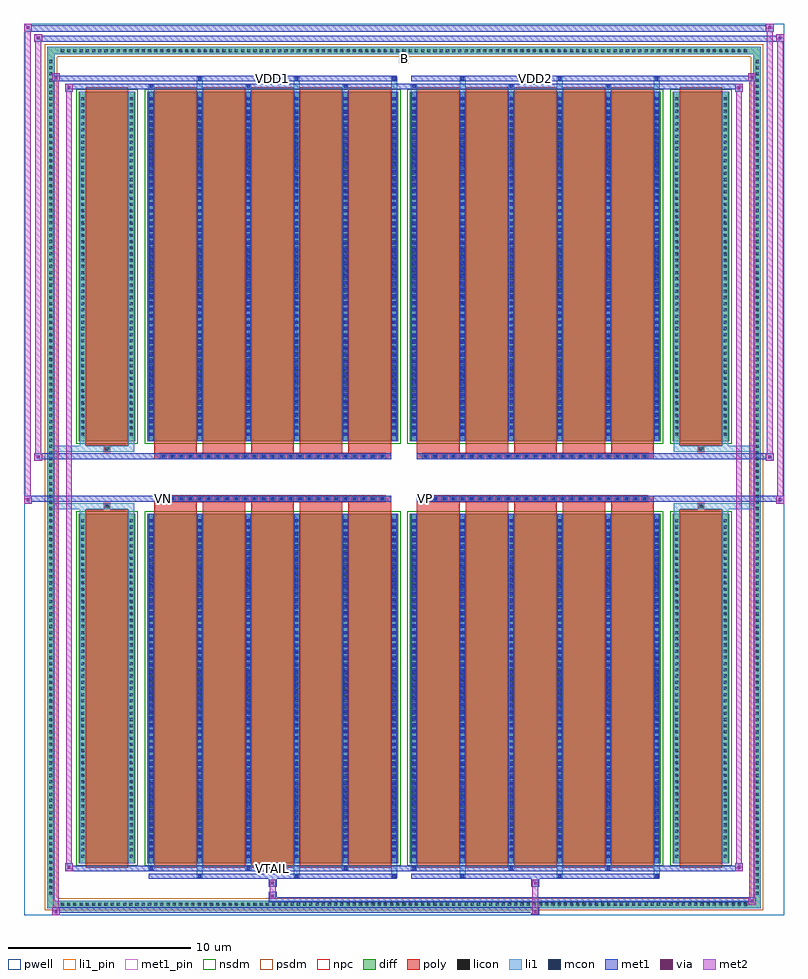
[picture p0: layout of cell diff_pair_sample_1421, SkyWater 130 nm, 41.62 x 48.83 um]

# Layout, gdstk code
import gdstk
lib = gdstk.Library(unit=1e-6, precision=5e-09)
def R(c, l, rs):  # rectangles x0, y0, x1, y1
    for r in rs: c.add(gdstk.rectangle(r[:2], r[2:], *l))
def A(c, l, x, y, w, h, nx, ny, dx, dy):  # array of equal rectangles
    R(c, l, [(x+i*dx, y+j*dy, x+i*dx+w, y+j*dy+h) for i in range(nx) for j in range(ny)])
def P(c, l, *ps):  # polygons
    for p in ps: c.add(gdstk.Polygon(p, *l))
pwell = (64, 44)
diff = (65, 20)
poly = (66, 20)
licon = (66, 44)
li1_pin = (67, 16)
li1 = (67, 20)
mcon = (67, 44)
met1_pin = (68, 16)
met1 = (68, 20)
via = (68, 44)
met2 = (69, 20)
nsdm = (93, 44)
psdm = (94, 20)
npc = (95, 20)

diff_pair_sample_1421 = lib.new_cell('diff_pair_sample_1421')
R(diff_pair_sample_1421, pwell, [(-20.81,-23.98,20.81,24.85), (-18.13,-22.17,-0.01,-0.805), (0.01,-22.17,18.13,-0.805), (-18.13,0.805,-0.01,22.17), (0.01,0.805,18.13,22.17)])
A(diff_pair_sample_1421, diff, -18.905, -23.58, 0.41, 0.41, 111, 2, 0.34, 46.75)
A(diff_pair_sample_1421, diff, -19.54, -22.985, 0.41, 0.41, 1, 135, 0, 0.34)
A(diff_pair_sample_1421, diff, 19.13, -22.985, 0.41, 0.41, 1, 135, 0, 0.34)
R(diff_pair_sample_1421, diff, [(-18.905,-23.58,18.905,-23.17), (-19.54,-22.985,-19.13,22.985), (19.13,-22.985,19.54,22.985), (-17.82,-21.125,-14.71,-1.985), (-14.07,-21.125,-0.32,-1.985), (0.32,-21.125,14.07,-1.985), (14.71,-21.125,17.82,-1.985), (-17.82,1.985,-14.71,21.125), (-14.07,1.985,-0.32,21.125), (0.32,1.985,14.07,21.125), (14.71,1.985,17.82,21.125), (-18.905,23.17,18.905,23.58)])
P(diff_pair_sample_1421, diff, [(19.54,23.58),(-19.54,23.58),(-19.54,-23.17),(-19.13,-23.17),(-19.13,23.17),(19.13,23.17),(19.13,-23.17),(-19.13,-23.17),(-19.54,-23.17),(-19.54,-23.58),(19.54,-23.58)])
A(diff_pair_sample_1421, poly, -13.68, -21.375, 2.33, 19.64, 5, 2, 2.66, 23.11)
A(diff_pair_sample_1421, poly, 0.71, -21.375, 2.33, 19.64, 5, 2, 2.66, 23.11)
A(diff_pair_sample_1421, poly, -13.68, -1.735, 2.33, 0.4, 5, 2, 2.66, 3.07)
A(diff_pair_sample_1421, poly, 0.71, -1.735, 2.33, 0.4, 5, 2, 2.66, 3.07)
A(diff_pair_sample_1421, poly, -13.36, -1.335, 0.33, 0.33, 25, 2, 0.5, 2.34)
A(diff_pair_sample_1421, poly, 1.03, -1.335, 0.33, 0.33, 25, 2, 0.5, 2.34)
R(diff_pair_sample_1421, poly, [(-17.43,-21.375,-15.1,-1.735), (15.1,-21.375,17.43,-1.735), (-16.43,-1.735,-16.1,-1.405), (-16.43,-1.735,-16.1,-1.405), (16.1,-1.735,16.43,-1.405), (16.1,-1.735,16.43,-1.405), (-13.68,-1.335,-0.71,-1.005), (0.71,-1.335,13.68,-1.005), (-13.68,1.005,-0.71,1.335), (0.71,1.005,13.68,1.335), (-16.43,1.405,-16.1,1.735), (-16.43,1.405,-16.1,1.735), (16.1,1.405,16.43,1.735), (16.1,1.405,16.43,1.735), (-17.43,1.735,-15.1,21.375), (15.1,1.735,17.43,21.375)])
A(diff_pair_sample_1421, licon, -18.785, -23.46, 0.17, 0.17, 111, 2, 0.34, 46.75)
A(diff_pair_sample_1421, licon, -19.42, -22.865, 0.17, 0.17, 1, 135, 0, 0.34)
A(diff_pair_sample_1421, licon, 19.25, -22.865, 0.17, 0.17, 1, 135, 0, 0.34)
A(diff_pair_sample_1421, licon, -17.68, -20.82, 0.17, 0.17, 1, 55, 0, 0.34)
A(diff_pair_sample_1421, licon, -15.02, -20.82, 0.17, 0.17, 1, 55, 0, 0.34)
A(diff_pair_sample_1421, licon, -13.93, -20.82, 0.17, 0.17, 6, 55, 2.66, 0.34)
A(diff_pair_sample_1421, licon, 0.46, -20.82, 0.17, 0.17, 6, 55, 2.66, 0.34)
A(diff_pair_sample_1421, licon, 14.85, -20.82, 0.17, 0.17, 1, 55, 0, 0.34)
A(diff_pair_sample_1421, licon, 17.51, -20.82, 0.17, 0.17, 1, 55, 0, 0.34)
A(diff_pair_sample_1421, licon, -13.28, -1.255, 0.17, 0.17, 25, 2, 0.5, 2.34)
A(diff_pair_sample_1421, licon, 1.11, -1.255, 0.17, 0.17, 25, 2, 0.5, 2.34)
A(diff_pair_sample_1421, licon, -17.68, 2.29, 0.17, 0.17, 1, 55, 0, 0.34)
A(diff_pair_sample_1421, licon, -15.02, 2.29, 0.17, 0.17, 1, 55, 0, 0.34)
A(diff_pair_sample_1421, licon, -13.93, 2.29, 0.17, 0.17, 6, 55, 2.66, 0.34)
A(diff_pair_sample_1421, licon, 0.46, 2.29, 0.17, 0.17, 6, 55, 2.66, 0.34)
A(diff_pair_sample_1421, licon, 14.85, 2.29, 0.17, 0.17, 1, 55, 0, 0.34)
A(diff_pair_sample_1421, licon, 17.51, 2.29, 0.17, 0.17, 1, 55, 0, 0.34)
R(diff_pair_sample_1421, licon, [(-16.35,-1.655,-16.18,-1.485), (16.18,-1.655,16.35,-1.485), (-16.35,1.485,-16.18,1.655), (16.18,1.485,16.35,1.655)])
R(diff_pair_sample_1421, li1_pin, [(-0.25,22.67,0.25,23.17)])
A(diff_pair_sample_1421, li1, -18.865, -23.54, 0.33, 0.33, 111, 2, 0.34, 46.75)
A(diff_pair_sample_1421, li1, -19.5, -22.945, 0.33, 0.33, 1, 135, 0, 0.34)
A(diff_pair_sample_1421, li1, 19.17, -22.945, 0.33, 0.33, 1, 135, 0, 0.34)
A(diff_pair_sample_1421, li1, -11.35, -21.93, 0.33, 0.805, 3, 2, 5.32, 43.055)
A(diff_pair_sample_1421, li1, -11.27, -21.93, 0.17, 0.17, 3, 2, 5.32, 43.69)
A(diff_pair_sample_1421, li1, 3.04, -21.93, 0.33, 0.805, 3, 2, 5.32, 43.055)
A(diff_pair_sample_1421, li1, 3.12, -21.93, 0.17, 0.17, 3, 2, 5.32, 43.69)
A(diff_pair_sample_1421, li1, -14.01, -21.5, 0.33, 0.375, 3, 2, 5.32, 42.625)
A(diff_pair_sample_1421, li1, -13.93, -21.5, 0.17, 0.17, 3, 2, 5.32, 42.83)
A(diff_pair_sample_1421, li1, 0.38, -21.5, 0.33, 0.375, 3, 2, 5.32, 42.625)
A(diff_pair_sample_1421, li1, 0.46, -21.5, 0.17, 0.17, 3, 2, 5.32, 42.83)
A(diff_pair_sample_1421, li1, -14.01, -21.125, 0.33, 19.14, 6, 2, 2.66, 23.11)
A(diff_pair_sample_1421, li1, 0.38, -21.125, 0.33, 19.14, 6, 2, 2.66, 23.11)
A(diff_pair_sample_1421, li1, -17.76, -20.9, 0.33, 0.33, 1, 55, 0, 0.34)
A(diff_pair_sample_1421, li1, -15.1, -20.9, 0.33, 0.33, 1, 55, 0, 0.34)
A(diff_pair_sample_1421, li1, -14.01, -20.9, 0.33, 0.33, 6, 55, 2.66, 0.34)
A(diff_pair_sample_1421, li1, 0.38, -20.9, 0.33, 0.33, 6, 55, 2.66, 0.34)
A(diff_pair_sample_1421, li1, 14.77, -20.9, 0.33, 0.33, 1, 55, 0, 0.34)
A(diff_pair_sample_1421, li1, 17.43, -20.9, 0.33, 0.33, 1, 55, 0, 0.34)
A(diff_pair_sample_1421, li1, -13.93, -20.82, 0.17, 0.17, 6, 52, 2.66, 0.36)
A(diff_pair_sample_1421, li1, -13.93, -20.82, 0.17, 18.53, 6, 2, 2.66, 23.11)
A(diff_pair_sample_1421, li1, 0.46, -20.82, 0.17, 0.17, 6, 52, 2.66, 0.36)
A(diff_pair_sample_1421, li1, 0.46, -20.82, 0.17, 18.53, 6, 2, 2.66, 23.11)
A(diff_pair_sample_1421, li1, -13.36, -1.335, 0.33, 0.33, 25, 2, 0.5, 2.34)
A(diff_pair_sample_1421, li1, 1.03, -1.335, 0.33, 0.33, 25, 2, 0.5, 2.34)
A(diff_pair_sample_1421, li1, -17.76, 2.21, 0.33, 0.33, 1, 55, 0, 0.34)
A(diff_pair_sample_1421, li1, -15.1, 2.21, 0.33, 0.33, 1, 55, 0, 0.34)
A(diff_pair_sample_1421, li1, -14.01, 2.21, 0.33, 0.33, 6, 55, 2.66, 0.34)
A(diff_pair_sample_1421, li1, 0.38, 2.21, 0.33, 0.33, 6, 55, 2.66, 0.34)
A(diff_pair_sample_1421, li1, 14.77, 2.21, 0.33, 0.33, 1, 55, 0, 0.34)
A(diff_pair_sample_1421, li1, 17.43, 2.21, 0.33, 0.33, 1, 55, 0, 0.34)
A(diff_pair_sample_1421, li1, -13.93, 2.29, 0.17, 0.17, 6, 52, 2.66, 0.36)
A(diff_pair_sample_1421, li1, 0.46, 2.29, 0.17, 0.17, 6, 52, 2.66, 0.36)
R(diff_pair_sample_1421, li1, [(-19.54,-23.58,-19.13,-23.17), (-19.54,-23.58,-19.13,-23.17), (-19.13,-23.58,19.13,-23.17), (19.13,-23.58,19.54,-23.17), (19.13,-23.58,19.54,-23.17), (-19.54,-23.17,-19.13,23.17), (19.13,-23.17,19.54,23.17), (-17.76,-21.125,-17.43,-1.985), (-15.1,-21.125,-14.77,-1.985), (14.77,-21.125,15.1,-1.985), (17.43,-21.125,17.76,-1.985), (-17.76,-1.985,-17.43,-1.405), (-15.1,-1.985,-14.77,-1.405), (14.77,-1.985,15.1,-1.405), (17.43,-1.985,17.76,-1.405), (-19.54,-1.735,-16.43,-1.405), (-17.76,-1.735,-16.43,-1.405), (-16.43,-1.735,-16.1,-1.405), (-16.1,-1.735,-14.77,-1.405), (14.77,-1.735,16.1,-1.405), (16.1,-1.735,16.43,-1.405), (16.1,-1.735,19.54,-1.405), (16.43,-1.735,17.76,-1.405), (-19.54,1.405,-16.43,1.735), (-17.76,1.405,-16.43,1.735), (-17.76,1.405,-17.43,1.985), (-16.43,1.405,-16.1,1.735), (-16.1,1.405,-14.77,1.735), (-15.1,1.405,-14.77,1.985), (14.77,1.405,16.1,1.735), (14.77,1.405,15.1,1.985), (16.1,1.405,16.43,1.735), (16.1,1.405,19.54,1.735), (16.43,1.405,17.76,1.735), (17.43,1.405,17.76,1.985), (-17.76,1.985,-17.43,21.125), (-15.1,1.985,-14.77,21.125), (14.77,1.985,15.1,21.125), (17.43,1.985,17.76,21.125), (-19.54,23.17,-19.13,23.58), (-19.54,23.17,-19.13,23.58), (-19.13,23.17,19.13,23.58), (19.13,23.17,19.54,23.58), (19.13,23.17,19.54,23.58)])
A(diff_pair_sample_1421, mcon, -11.27, -21.93, 0.17, 0.17, 3, 2, 5.32, 43.69)
A(diff_pair_sample_1421, mcon, 3.12, -21.93, 0.17, 0.17, 3, 2, 5.32, 43.69)
A(diff_pair_sample_1421, mcon, -13.93, -21.5, 0.17, 0.17, 3, 2, 5.32, 42.83)
A(diff_pair_sample_1421, mcon, 0.46, -21.5, 0.17, 0.17, 3, 2, 5.32, 42.83)
A(diff_pair_sample_1421, mcon, -13.93, -20.82, 0.17, 0.17, 6, 52, 2.66, 0.36)
A(diff_pair_sample_1421, mcon, 0.46, -20.82, 0.17, 0.17, 6, 52, 2.66, 0.36)
A(diff_pair_sample_1421, mcon, -13.28, -1.255, 0.17, 0.17, 25, 2, 0.5, 2.34)
A(diff_pair_sample_1421, mcon, 1.11, -1.255, 0.17, 0.17, 25, 2, 0.5, 2.34)
A(diff_pair_sample_1421, mcon, -13.93, 2.29, 0.17, 0.17, 6, 52, 2.66, 0.36)
A(diff_pair_sample_1421, mcon, 0.46, 2.29, 0.17, 0.17, 6, 52, 2.66, 0.36)
R(diff_pair_sample_1421, met1_pin, [(-7.33,-21.54,-7.06,-21.27), (-13.33,-1.295,-13.06,-1.025), (1.06,-1.295,1.33,-1.025), (-7.33,21.72,-7.06,21.99), (7.06,21.72,7.33,21.99)])
A(diff_pair_sample_1421, met1, -11.33, -21.99, 0.29, 0.29, 3, 2, 5.32, 43.69)
A(diff_pair_sample_1421, met1, 3.06, -21.99, 0.29, 0.29, 3, 2, 5.32, 43.69)
A(diff_pair_sample_1421, met1, -13.99, -21.56, 0.29, 0.29, 3, 2, 5.32, 42.83)
A(diff_pair_sample_1421, met1, 0.4, -21.56, 0.29, 0.29, 3, 2, 5.32, 42.83)
A(diff_pair_sample_1421, met1, -13.99, -21.125, 0.29, 19.14, 6, 2, 2.66, 23.11)
A(diff_pair_sample_1421, met1, 0.4, -21.125, 0.29, 19.14, 6, 2, 2.66, 23.11)
A(diff_pair_sample_1421, met1, -13.99, -20.88, 0.29, 0.29, 6, 52, 2.66, 0.36)
A(diff_pair_sample_1421, met1, 0.4, -20.88, 0.29, 0.29, 6, 52, 2.66, 0.36)
A(diff_pair_sample_1421, met1, -13.34, -1.315, 0.29, 0.29, 25, 2, 0.5, 2.34)
A(diff_pair_sample_1421, met1, 1.05, -1.315, 0.29, 0.29, 25, 2, 0.5, 2.34)
A(diff_pair_sample_1421, met1, -13.99, 2.23, 0.29, 0.29, 6, 52, 2.66, 0.36)
A(diff_pair_sample_1421, met1, 0.4, 2.23, 0.29, 0.29, 6, 52, 2.66, 0.36)
R(diff_pair_sample_1421, met1, [(-19.27,-23.98,-18.84,-23.55), (6.98,-23.98,7.41,-23.55), (-19.27,-23.84,7.41,-23.55), (18.84,-23.41,19.27,-22.98), (-7.41,-23.27,19.27,-22.98), (-7.41,-23.13,-6.98,-22.7), (-7.41,-22.42,-6.98,-21.99), (6.98,-22.42,7.41,-21.99), (-13.99,-21.99,-0.4,-21.7), (0.4,-21.99,13.99,-21.7), (-18.56,-21.56,-18.13,-21.13), (-18.56,-21.56,-13.99,-21.27), (-13.99,-21.56,-0.4,-21.27), (-0.4,-21.56,0.4,-21.27), (0.4,-21.56,13.99,-21.27), (13.99,-21.56,18.56,-21.27), (18.13,-21.56,18.56,-21.13), (-20.81,-1.435,-20.38,-1.005), (20.38,-1.435,20.81,-1.005), (-20.81,-1.335,-0.71,-1.005), (-13.68,-1.335,-0.71,-1.005), (0.71,-1.335,13.68,-1.005), (0.71,-1.335,20.81,-1.005), (-20.24,0.905,-19.81,1.335), (19.81,0.905,20.24,1.335), (-20.24,1.005,-13.68,1.335), (-13.68,1.005,-0.71,1.335), (0.71,1.005,13.68,1.335), (13.68,1.005,20.24,1.335), (-18.56,21.13,-18.13,21.56), (18.13,21.13,18.56,21.56), (-18.56,21.27,-13.99,21.56), (-13.99,21.27,-0.4,21.56), (-0.4,21.27,0.4,21.56), (0.4,21.27,13.99,21.56), (13.99,21.27,18.56,21.56), (-19.27,21.7,-18.84,22.13), (-19.27,21.7,-13.99,21.99), (-13.99,21.7,-0.4,21.99), (0.4,21.7,13.99,21.99), (13.99,21.7,19.27,21.99), (18.84,21.7,19.27,22.13), (-20.24,23.85,-19.81,24.28), (-20.24,23.85,-18.13,24.18), (-18.13,23.85,18.13,24.18), (18.13,23.85,20.81,24.18), (20.38,23.85,20.81,24.28), (-20.81,24.42,-20.38,24.85), (-20.81,24.42,-18.13,24.75), (-18.13,24.42,18.13,24.75), (18.13,24.42,20.24,24.75), (19.81,24.42,20.24,24.85)])
R(diff_pair_sample_1421, via, [(-19.13,-23.84,-18.98,-23.69), (7.12,-23.84,7.27,-23.69), (18.98,-23.27,19.13,-23.12), (-7.27,-22.99,-7.12,-22.84), (-7.27,-22.28,-7.12,-22.13), (7.12,-22.28,7.27,-22.13), (-18.42,-21.42,-18.27,-21.27), (18.27,-21.42,18.42,-21.27), (-20.67,-1.295,-20.52,-1.145), (20.52,-1.295,20.67,-1.145), (-20.1,1.045,-19.95,1.195), (19.95,1.045,20.1,1.195), (-18.42,21.27,-18.27,21.42), (18.27,21.27,18.42,21.42), (-19.13,21.84,-18.98,21.99), (18.98,21.84,19.13,21.99), (-20.1,23.99,-19.95,24.14), (20.52,23.99,20.67,24.14), (-20.67,24.56,-20.52,24.71), (19.95,24.56,20.1,24.71)])
R(diff_pair_sample_1421, met2, [(-19.27,-23.98,-18.84,-23.55), (-19.2,-23.98,-18.91,22.13), (-18.91,-23.98,-18.84,-23.55), (-19.22,-23.93,-18.89,-23.6), (7.03,-23.93,7.36,-23.6), (7.03,-23.6,7.36,-22.37), (18.84,-23.41,19.27,-22.98), (18.91,-23.41,19.2,22.13), (19.2,-23.41,19.27,-22.98), (18.89,-23.36,19.22,-23.03), (-7.36,-23.08,-7.03,-22.75), (-7.36,-22.75,-7.03,-22.37), (-7.36,-22.37,-7.03,-22.04), (7.03,-22.37,7.36,-22.04), (-18.56,-21.56,-18.13,-21.13), (-18.49,-21.56,-18.2,21.56), (-18.2,-21.56,-18.13,-21.13), (18.13,-21.56,18.56,-21.13), (18.2,-21.56,18.49,21.56), (18.49,-21.56,18.56,-21.13), (-18.51,-21.51,-18.18,-21.18), (18.18,-21.51,18.51,-21.18), (-20.81,-1.435,-20.38,-1.005), (-20.76,-1.435,-20.43,24.85), (-20.43,-1.435,-20.38,-1.005), (20.38,-1.435,20.81,-1.005), (20.43,-1.435,20.76,24.28), (20.76,-1.435,20.81,-1.005), (-20.76,-1.385,-20.43,-1.055), (20.43,-1.385,20.76,-1.055), (-20.24,0.905,-19.81,1.335), (-20.19,0.905,-19.86,24.28), (-19.86,0.905,-19.81,1.335), (19.81,0.905,20.24,1.335), (19.86,0.905,20.19,24.85), (20.19,0.905,20.24,1.335), (-20.19,0.955,-19.86,1.285), (19.86,0.955,20.19,1.285), (-18.56,21.13,-18.13,21.56), (-18.2,21.13,-18.13,21.56), (18.13,21.13,18.56,21.56), (18.49,21.13,18.56,21.56), (-18.51,21.18,-18.18,21.51), (18.18,21.18,18.51,21.51), (-19.27,21.7,-18.84,22.13), (-18.91,21.7,-18.84,22.13), (18.84,21.7,19.27,22.13), (19.2,21.7,19.27,22.13), (-19.22,21.75,-18.89,22.08), (18.89,21.75,19.22,22.08), (-20.24,23.85,-19.81,24.28), (-19.86,23.85,-19.81,24.28), (20.38,23.85,20.81,24.28), (20.76,23.85,20.81,24.28), (-20.19,23.9,-19.86,24.23), (20.43,23.9,20.76,24.23), (-20.81,24.42,-20.38,24.85), (-20.43,24.42,-20.38,24.85), (19.81,24.42,20.24,24.85), (20.19,24.42,20.24,24.85), (-20.76,24.47,-20.43,24.8), (19.86,24.47,20.19,24.8)])
R(diff_pair_sample_1421, nsdm, [(-17.95,-21.255,-14.58,-1.855), (-14.2,-21.255,-0.19,-1.855), (0.19,-21.255,14.2,-1.855), (14.58,-21.255,17.95,-1.855), (-17.95,1.855,-14.58,21.255), (-14.2,1.855,-0.19,21.255), (0.19,1.855,14.2,21.255), (14.58,1.855,17.95,21.255)])
P(diff_pair_sample_1421, psdm, [(19.67,23.71),(-19.67,23.71),(-19.67,-23.04),(-19,-23.04),(-19,23.04),(19,23.04),(19,-23.04),(-19,-23.04),(-19.67,-23.04),(-19.67,-23.71),(19.67,-23.71)])
A(diff_pair_sample_1421, npc, -13.38, -1.355, 0.37, 0.37, 25, 2, 0.5, 2.34)
A(diff_pair_sample_1421, npc, 1.01, -1.355, 0.37, 0.37, 25, 2, 0.5, 2.34)
R(diff_pair_sample_1421, npc, [(-16.45,-1.755,-16.08,-1.385), (16.08,-1.755,16.45,-1.385), (-13.38,-1.355,-12.51,-0.985), (-13.38,-1.355,-12.51,-0.985), (-12.88,-1.355,-12.01,-0.985), (-12.88,-1.355,-12.01,-0.985), (-12.38,-1.355,-11.51,-0.985), (-12.38,-1.355,-11.51,-0.985), (-11.88,-1.355,-11.01,-0.985), (-11.88,-1.355,-11.01,-0.985), (-11.38,-1.355,-10.51,-0.985), (-11.38,-1.355,-10.51,-0.985), (-10.88,-1.355,-10.01,-0.985), (-10.88,-1.355,-10.01,-0.985), (-10.38,-1.355,-9.51,-0.985), (-10.38,-1.355,-9.51,-0.985), (-9.88,-1.355,-9.01,-0.985), (-9.88,-1.355,-9.01,-0.985), (-9.38,-1.355,-8.51,-0.985), (-9.38,-1.355,-8.51,-0.985), (-8.88,-1.355,-8.01,-0.985), (-8.88,-1.355,-8.01,-0.985), (-8.38,-1.355,-7.51,-0.985), (-8.38,-1.355,-7.51,-0.985), (-7.88,-1.355,-7.01,-0.985), (-7.88,-1.355,-7.01,-0.985), (-7.38,-1.355,-6.51,-0.985), (-7.38,-1.355,-6.51,-0.985), (-6.88,-1.355,-6.01,-0.985), (-6.88,-1.355,-6.01,-0.985), (-6.38,-1.355,-5.51,-0.985), (-6.38,-1.355,-5.51,-0.985), (-5.88,-1.355,-5.01,-0.985), (-5.88,-1.355,-5.01,-0.985), (-5.38,-1.355,-4.51,-0.985), (-5.38,-1.355,-4.51,-0.985), (-4.88,-1.355,-4.01,-0.985), (-4.88,-1.355,-4.01,-0.985), (-4.38,-1.355,-3.51,-0.985), (-4.38,-1.355,-3.51,-0.985), (-3.88,-1.355,-3.01,-0.985), (-3.88,-1.355,-3.01,-0.985), (-3.38,-1.355,-2.51,-0.985), (-3.38,-1.355,-2.51,-0.985), (-2.88,-1.355,-2.01,-0.985), (-2.88,-1.355,-2.01,-0.985), (-2.38,-1.355,-1.51,-0.985), (-2.38,-1.355,-1.51,-0.985), (-1.88,-1.355,-1.01,-0.985), (-1.88,-1.355,-1.01,-0.985), (1.01,-1.355,1.88,-0.985), (1.01,-1.355,1.88,-0.985), (1.51,-1.355,2.38,-0.985), (1.51,-1.355,2.38,-0.985), (2.01,-1.355,2.88,-0.985), (2.01,-1.355,2.88,-0.985), (2.51,-1.355,3.38,-0.985), (2.51,-1.355,3.38,-0.985), (3.01,-1.355,3.88,-0.985), (3.01,-1.355,3.88,-0.985), (3.51,-1.355,4.38,-0.985), (3.51,-1.355,4.38,-0.985), (4.01,-1.355,4.88,-0.985), (4.01,-1.355,4.88,-0.985), (4.51,-1.355,5.38,-0.985), (4.51,-1.355,5.38,-0.985), (5.01,-1.355,5.88,-0.985), (5.01,-1.355,5.88,-0.985), (5.51,-1.355,6.38,-0.985), (5.51,-1.355,6.38,-0.985), (6.01,-1.355,6.88,-0.985), (6.01,-1.355,6.88,-0.985), (6.51,-1.355,7.38,-0.985), (6.51,-1.355,7.38,-0.985), (7.01,-1.355,7.88,-0.985), (7.01,-1.355,7.88,-0.985), (7.51,-1.355,8.38,-0.985), (7.51,-1.355,8.38,-0.985), (8.01,-1.355,8.88,-0.985), (8.01,-1.355,8.88,-0.985), (8.51,-1.355,9.38,-0.985), (8.51,-1.355,9.38,-0.985), (9.01,-1.355,9.88,-0.985), (9.01,-1.355,9.88,-0.985), (9.51,-1.355,10.38,-0.985), (9.51,-1.355,10.38,-0.985), (10.01,-1.355,10.88,-0.985), (10.01,-1.355,10.88,-0.985), (10.51,-1.355,11.38,-0.985), (10.51,-1.355,11.38,-0.985), (11.01,-1.355,11.88,-0.985), (11.01,-1.355,11.88,-0.985), (11.51,-1.355,12.38,-0.985), (11.51,-1.355,12.38,-0.985), (12.01,-1.355,12.88,-0.985), (12.01,-1.355,12.88,-0.985), (12.51,-1.355,13.38,-0.985), (12.51,-1.355,13.38,-0.985), (-13.38,0.985,-12.51,1.355), (-13.38,0.985,-12.51,1.355), (-12.88,0.985,-12.01,1.355), (-12.88,0.985,-12.01,1.355), (-12.38,0.985,-11.51,1.355), (-12.38,0.985,-11.51,1.355), (-11.88,0.985,-11.01,1.355), (-11.88,0.985,-11.01,1.355), (-11.38,0.985,-10.51,1.355), (-11.38,0.985,-10.51,1.355), (-10.88,0.985,-10.01,1.355), (-10.88,0.985,-10.01,1.355), (-10.38,0.985,-9.51,1.355), (-10.38,0.985,-9.51,1.355), (-9.88,0.985,-9.01,1.355), (-9.88,0.985,-9.01,1.355), (-9.38,0.985,-8.51,1.355), (-9.38,0.985,-8.51,1.355), (-8.88,0.985,-8.01,1.355), (-8.88,0.985,-8.01,1.355), (-8.38,0.985,-7.51,1.355), (-8.38,0.985,-7.51,1.355), (-7.88,0.985,-7.01,1.355), (-7.88,0.985,-7.01,1.355), (-7.38,0.985,-6.51,1.355), (-7.38,0.985,-6.51,1.355), (-6.88,0.985,-6.01,1.355), (-6.88,0.985,-6.01,1.355), (-6.38,0.985,-5.51,1.355), (-6.38,0.985,-5.51,1.355), (-5.88,0.985,-5.01,1.355), (-5.88,0.985,-5.01,1.355), (-5.38,0.985,-4.51,1.355), (-5.38,0.985,-4.51,1.355), (-4.88,0.985,-4.01,1.355), (-4.88,0.985,-4.01,1.355), (-4.38,0.985,-3.51,1.355), (-4.38,0.985,-3.51,1.355), (-3.88,0.985,-3.01,1.355), (-3.88,0.985,-3.01,1.355), (-3.38,0.985,-2.51,1.355), (-3.38,0.985,-2.51,1.355), (-2.88,0.985,-2.01,1.355), (-2.88,0.985,-2.01,1.355), (-2.38,0.985,-1.51,1.355), (-2.38,0.985,-1.51,1.355), (-1.88,0.985,-1.01,1.355), (-1.88,0.985,-1.01,1.355), (1.01,0.985,1.88,1.355), (1.01,0.985,1.88,1.355), (1.51,0.985,2.38,1.355), (1.51,0.985,2.38,1.355), (2.01,0.985,2.88,1.355), (2.01,0.985,2.88,1.355), (2.51,0.985,3.38,1.355), (2.51,0.985,3.38,1.355), (3.01,0.985,3.88,1.355), (3.01,0.985,3.88,1.355), (3.51,0.985,4.38,1.355), (3.51,0.985,4.38,1.355), (4.01,0.985,4.88,1.355), (4.01,0.985,4.88,1.355), (4.51,0.985,5.38,1.355), (4.51,0.985,5.38,1.355), (5.01,0.985,5.88,1.355), (5.01,0.985,5.88,1.355), (5.51,0.985,6.38,1.355), (5.51,0.985,6.38,1.355), (6.01,0.985,6.88,1.355), (6.01,0.985,6.88,1.355), (6.51,0.985,7.38,1.355), (6.51,0.985,7.38,1.355), (7.01,0.985,7.88,1.355), (7.01,0.985,7.88,1.355), (7.51,0.985,8.38,1.355), (7.51,0.985,8.38,1.355), (8.01,0.985,8.88,1.355), (8.01,0.985,8.88,1.355), (8.51,0.985,9.38,1.355), (8.51,0.985,9.38,1.355), (9.01,0.985,9.88,1.355), (9.01,0.985,9.88,1.355), (9.51,0.985,10.38,1.355), (9.51,0.985,10.38,1.355), (10.01,0.985,10.88,1.355), (10.01,0.985,10.88,1.355), (10.51,0.985,11.38,1.355), (10.51,0.985,11.38,1.355), (11.01,0.985,11.88,1.355), (11.01,0.985,11.88,1.355), (11.51,0.985,12.38,1.355), (11.51,0.985,12.38,1.355), (12.01,0.985,12.88,1.355), (12.01,0.985,12.88,1.355), (12.51,0.985,13.38,1.355), (12.51,0.985,13.38,1.355), (-16.45,1.385,-16.08,1.755), (16.08,1.385,16.45,1.755)])
diff_pair_sample_1421.add(gdstk.Label('VTAIL', (-7.195,-21.405), layer=68, texttype=5))
diff_pair_sample_1421.add(gdstk.Label('VN', (-13.195,-1.16), layer=68, texttype=5))
diff_pair_sample_1421.add(gdstk.Label('VP', (1.195,-1.16), layer=68, texttype=5))
diff_pair_sample_1421.add(gdstk.Label('B', (0,22.92), layer=67, texttype=5))
diff_pair_sample_1421.add(gdstk.Label('VDD2', (7.195,21.855), layer=68, texttype=5))
diff_pair_sample_1421.add(gdstk.Label('VDD1', (-7.195,21.855), layer=68, texttype=5))

lib.write_gds('diff_pair_sample_1421.gds')
